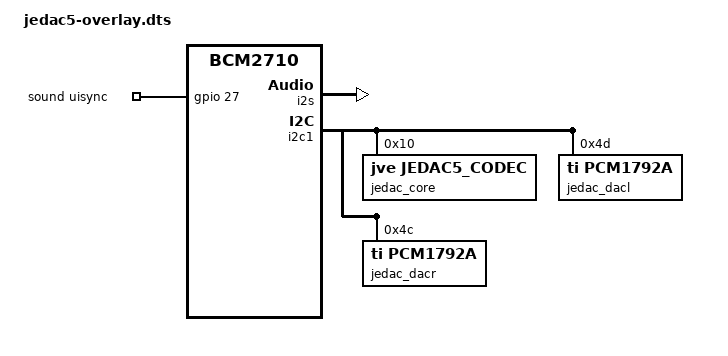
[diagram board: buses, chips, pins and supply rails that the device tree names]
// Definitions for Jos van Eijndhoven's DAC "jedac5"
// intended to be attached to a Raspberry Pi
// January 2016
//
// For info on dts files see:
// https://www.raspberrypi.com/documentation/computers/configuration.html#device-trees-overlays-and-parameters

/dts-v1/;
/plugin/;

/ {
	compatible = "brcm,bcm2710";


	fragment@0 {
		target = <&i2s>;
		__overlay__ {
			status = "okay";
		};
	};

	fragment@1 {
		target = <&i2c1>;
		__overlay__ {
			#address-cells = <1>;
			#size-cells = <0>;
			status = "okay";

			jedac_core: jedac5_codec@10 {
				#sound-dai-cells = <0>;
				// property causes subnode as one of dai_link->num_codecs
				// and inclusion in the dai_link->codecs array.
				compatible = "jve,jedac5_codec";
				reg = <0x10>; // Is address of onboard cs8416
				status = "okay";
			};

			jedac_dacl: dacL@4d {
				//#sound-dai-cells = <0>; // register as aux_dev??
				compatible = "ti,pcm1792a";
				reg = <0x4d>; // left audio channel
				status = "okay";
			};

			jedac_dacr: dacR@4c {
				//#sound-dai-cells = <0>; // register as aux_dev??
				compatible = "ti,pcm1792a";
				reg = <0x4c>; // right audio channel
				status = "okay";
			};
		};
	};
	
	fragment@2 {
    target = <&gpio>;
    __overlay__ {
      jedac_pins: jedac_pins {
        brcm,pins = <27>;     /* BCM GPIO number */
        brcm,function = <0>;  /* 0:in, 1:out, 2:alt5, etc. */
        brcm,pull = <2>;      /* 0:none, 1:down, 2:up */
      };
    };
  };

	fragment@3 {
		target = <&sound>;
		__overlay__ {
			compatible = "jve,jedac5_bcm";
			i2s-controller = <&i2s>;
			jve,dac_core = <&jedac_core>;
			jve,dac_l = <&jedac_dacl>;
			jve,dac_r = <&jedac_dacr>;
			pinctrl-names = "default";
      pinctrl-0 = <&jedac_pins>;
			status = "okay";

      // define 'uisync' as name to find in the driver
      // mode 22 = GPIO_OPEN_DRAIN | GPIO_PULL_UP
			uisync-gpios = <&gpio 27 22>;
		};
	};



};
